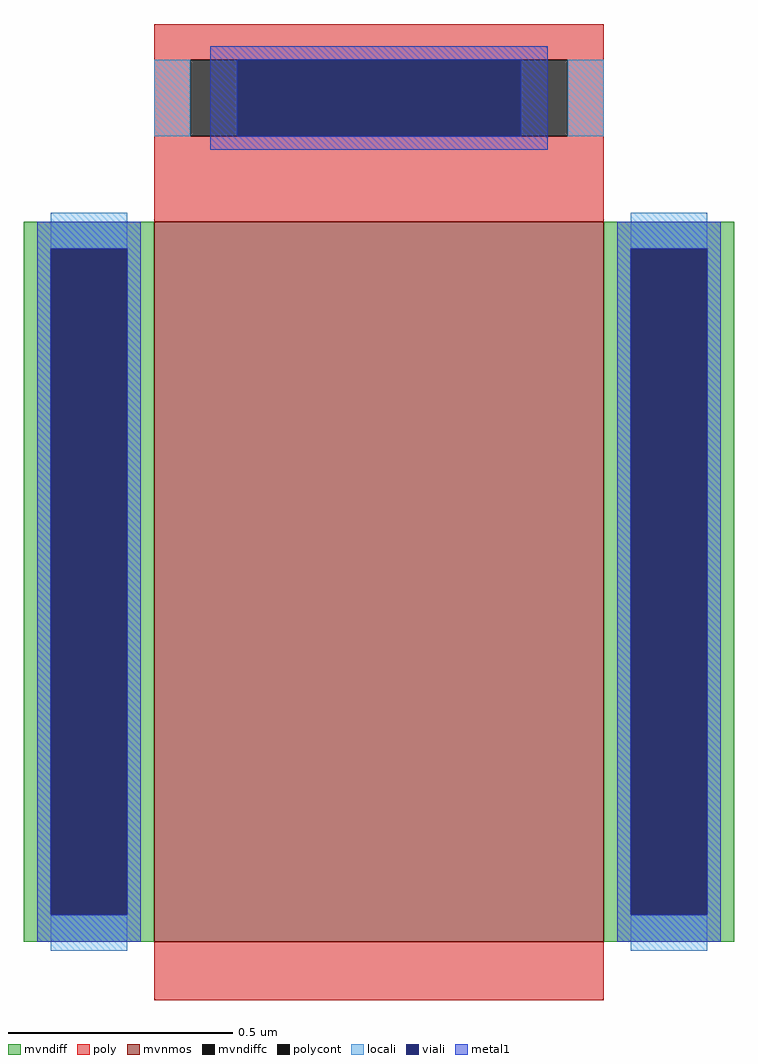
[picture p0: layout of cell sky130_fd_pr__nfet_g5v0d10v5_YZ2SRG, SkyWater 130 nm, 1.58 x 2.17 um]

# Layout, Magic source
magic
tech sky130A
magscale 1 2
<< mvnmos >>
rect -100 -191 100 129
<< mvndiff >>
rect -158 117 -100 129
rect -158 -179 -146 117
rect -112 -179 -100 117
rect -158 -191 -100 -179
rect 100 117 158 129
rect 100 -179 112 117
rect 146 -179 158 117
rect 100 -191 158 -179
<< mvndiffc >>
rect -146 -179 -112 117
rect 112 -179 146 117
<< poly >>
rect -100 201 100 217
rect -100 167 -84 201
rect 84 167 100 201
rect -100 129 100 167
rect -100 -217 100 -191
<< polycont >>
rect -84 167 84 201
<< locali >>
rect -100 167 -84 201
rect 84 167 100 201
rect -146 117 -112 133
rect -146 -195 -112 -179
rect 112 117 146 133
rect 112 -195 146 -179
<< viali >>
rect -63 167 63 201
rect -146 -179 -112 117
rect 112 -179 146 117
<< metal1 >>
rect -75 201 75 207
rect -75 167 -63 201
rect 63 167 75 201
rect -75 161 75 167
rect -152 117 -106 129
rect -152 -179 -146 117
rect -112 -179 -106 117
rect -152 -191 -106 -179
rect 106 117 152 129
rect 106 -179 112 117
rect 146 -179 152 117
rect 106 -191 152 -179
<< properties >>
string gencell sky130_fd_pr__nfet_g5v0d10v5
string library sky130
string parameters w 1.6 l 1 m 1 nf 1 diffcov 100 polycov 100 guard 0 glc 1 grc 1 gtc 1 gbc 1 tbcov 100 rlcov 100 topc 1 botc 0 poverlap 0 doverlap 1 lmin 0.50 wmin 0.42 compatible {sky130_fd_pr__nfet_01v8 sky130_fd_pr__nfet_01v8_lvt  sky130_fd_bs_flash__special_sonosfet_star  sky130_fd_pr__nfet_g5v0d10v5 sky130_fd_pr__nfet_05v0_nvt  sky130_fd_pr__nfet_03v3_nvt} full_metal 1 viasrc 100 viadrn 100 viagate 75 viagb 0 viagr 0 viagl 0 viagt 0
<< end >>
